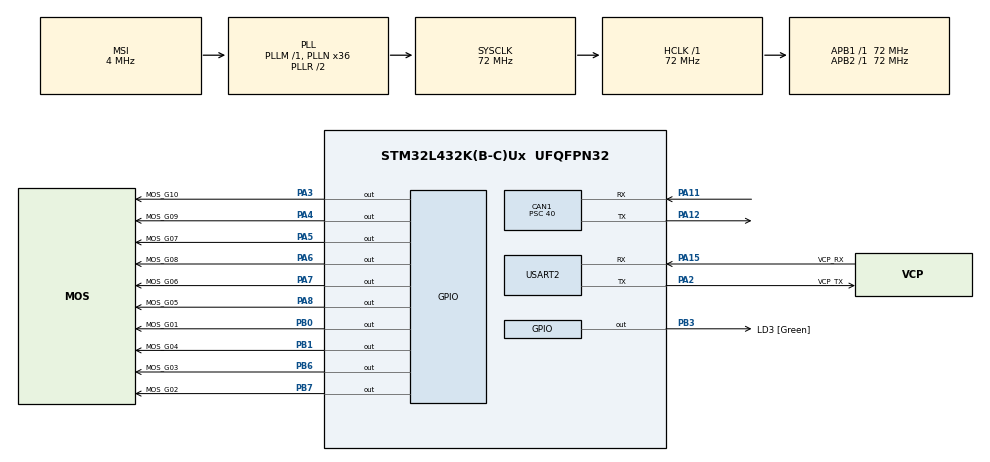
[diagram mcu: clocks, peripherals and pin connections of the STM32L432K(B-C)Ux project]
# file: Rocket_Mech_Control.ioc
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CAN1.ABOM=ENABLE
CAN1.BS1=CAN_BS1_14TQ
CAN1.CalculateBaudRate=112500
CAN1.CalculateTimeBit=8888
CAN1.CalculateTimeQuantum=555.5555555555555
CAN1.Mode=CAN_MODE_NORMAL
CAN1.Prescaler=40
Mcu.Family=STM32L4
Mcu.Name=STM32L432K(B-C)Ux
Mcu.Package=UFQFPN32
NVIC.CAN1_RX0_IRQn=true\:0\:0\:false\:false\:true\:true\:true\:true
NVIC.PriorityGroup=NVIC_PRIORITYGROUP_4
PA0.GPIO_Label=MCO [High speed clock in]
PA0.Mode=HSE-External-Clock-Source-for-LittleOrca
PA0.Signal=RCC_CK_IN
PA11.GPIO_PuPd=GPIO_PULLUP
PA11.Mode=CAN_Activate
PA11.Signal=CAN1_RX
PA12.Mode=CAN_Activate
PA12.Signal=CAN1_TX
PA13\ (JTMS-SWDIO).GPIO_Label=SWDIO
PA13\ (JTMS-SWDIO).Mode=Serial_Wire
PA13\ (JTMS-SWDIO).Signal=SYS_JTMS-SWDIO
PA14\ (JTCK-SWCLK).GPIO_Label=SWCLK
PA14\ (JTCK-SWCLK).Mode=Serial_Wire
PA14\ (JTCK-SWCLK).Signal=SYS_JTCK-SWCLK
PA15\ (JTDI).GPIO_Label=VCP_RX
PA15\ (JTDI).Mode=Asynchronous
PA15\ (JTDI).Signal=USART2_RX
PA2.GPIO_Label=VCP_TX
PA2.Mode=Asynchronous
PA2.Signal=USART2_TX
PA3.GPIO_Label=MOS_G10
PA3.Signal=GPIO_Output
PA4.GPIO_Label=MOS_G09
PA4.Signal=GPIO_Output
PA5.GPIO_Label=MOS_G07
PA5.Signal=GPIO_Output
PA6.GPIO_Label=MOS_G08
PA6.Signal=GPIO_Output
PA7.GPIO_Label=MOS_G06
PA7.Signal=GPIO_Output
PA8.GPIO_Label=MOS_G05
PA8.Signal=GPIO_Output
PB0.GPIO_Label=MOS_G01
PB0.Signal=GPIO_Output
PB1.GPIO_Label=MOS_G04
PB1.Signal=GPIO_Output
PB3\ (JTDO-TRACESWO).GPIO_Label=LD3 [Green]
PB3\ (JTDO-TRACESWO).Signal=GPIO_Output
PB6.GPIO_Label=MOS_G03
PB6.Signal=GPIO_Output
PB7.GPIO_Label=MOS_G02
PB7.Signal=GPIO_Output
PC14-OSC32_IN\ (PC14).Mode=LSE-External-Oscillator
PC14-OSC32_IN\ (PC14).Signal=RCC_OSC32_IN
PC15-OSC32_OUT\ (PC15).Mode=LSE-External-Oscillator
PC15-OSC32_OUT\ (PC15).Signal=RCC_OSC32_OUT
ProjectManager.HeapSize=0x200
ProjectManager.StackSize=0x400
ProjectManager.TargetToolchain=STM32CubeIDE
RCC.ADCFreq_Value=16000000
RCC.AHBFreq_Value=72000000
RCC.APB1Freq_Value=72000000
RCC.APB1TimFreq_Value=72000000
RCC.APB2Freq_Value=72000000
RCC.APB2TimFreq_Value=72000000
RCC.CortexFreq_Value=72000000
RCC.HCLKFreq_Value=72000000
RCC.HSE_VALUE=8000000
RCC.HSI16_VALUE=16000000
RCC.HSI48_VALUE=48000000
RCC.HSI_VALUE=16000000
RCC.MSI_VALUE=4000000
RCC.PLLMUL=RCC_PLLMUL_4
RCC.PLLN=36
RCC.SYSCLKFreq_VALUE=72000000
RCC.SYSCLKSource=RCC_SYSCLKSOURCE_PLLCLK
RCC.USBFreq_Value=16000000
RCC.VCOOutputFreq_Value=144000000
USART2.VirtualMode-Asynchronous=VM_ASYNC
board=NUCLEO-L432KC

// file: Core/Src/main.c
/* USER CODE BEGIN Header */
/**
  ******************************************************************************
  * @file           : main.c
  * @brief          : Main program body
  ******************************************************************************
  * @attention
  *
  * Copyright (c) 2023 STMicroelectronics.
  * All rights reserved.
  *
  * This software is licensed under terms that can be found in the LICENSE file
  * in the root directory of this software component.
  * If no LICENSE file comes with this software, it is provided AS-IS.
  *
  ******************************************************************************
  */
/* USER CODE END Header */
#include "main.h"

/* USER CODE BEGIN Includes */
#include "stdio.h"
#include "string.h"
/* USER CODE END Includes */

/* USER CODE BEGIN PTD */
typedef struct pins {
	uint8_t pinMode;
	uint8_t pinId;
	GPIO_TypeDef *pinReg;
	uint16_t pinNo;
} pin;
/* USER CODE END PTD */

CAN_HandleTypeDef hcan1;

UART_HandleTypeDef huart2;

void SystemClock_Config(void);
static void MX_GPIO_Init(void);
static void MX_USART2_UART_Init(void);
static void MX_CAN1_Init(void);
/* USER CODE BEGIN PFP */
void HAL_CAN_RxFifo0MsgPendingCallback(CAN_HandleTypeDef *hcan1);
void togglePin(pin *PinOut,  CAN_TxHeaderTypeDef *TxHeader, uint8_t TxData[8], uint32_t *TxMailbox);
/* USER CODE END PFP */

/* USER CODE BEGIN 0 */
uint8_t DataInFlag = RESET;
uint8_t BadCharFlag = RESET;
volatile uint8_t stateTxTime = RESET;

//CAN MSG Buffers
CAN_TxHeaderTypeDef TxHeader;
CAN_RxHeaderTypeDef RxHeader;

uint32_t TxMailbox;

uint8_t TxData[8]  = {0};
uint8_t RxData[8];

uint8_t ProcBuffer[8];
uint8_t pinStates[8] = { 0 };

uint16_t timCount = 0;

/* USER CODE END 0 */

int main(void)
{

  /* MCU Configuration--------------------------------------------------------*/

  /* Reset of all peripherals, Initializes the Flash interface and the Systick. */
  HAL_Init();

  /* Configure the system clock */
  SystemClock_Config();

  /* Initialize all configured peripherals */
  MX_GPIO_Init();
  MX_USART2_UART_Init();
  MX_CAN1_Init();
  /* USER CODE BEGIN 2 */
  // Control Flags

  //Start the CAN peripheral
  HAL_CAN_Start(&hcan1);
  //Enable notification interrupt on pending Rx messages
  HAL_CAN_ActivateNotification(&hcan1, CAN_IT_RX_FIFO0_MSG_PENDING);

  //Set Tx Header Arbitration and Control fields
  TxHeader.DLC = 8; //only sending one number representing id of valve toggled
  TxHeader.ExtId = 0;
  TxHeader.IDE = CAN_ID_STD;
  TxHeader.RTR = CAN_RTR_DATA;
  TxHeader.StdId = 0x132;
  TxHeader.TransmitGlobalTime = DISABLE;

  //Set up pin typedefs
  pin pin1  = {RESET,  1, MOS_G01_GPIO_Port, MOS_G01_Pin};
  pin pin2  = {RESET,  2, MOS_G02_GPIO_Port, MOS_G02_Pin};
  pin pin3  = {RESET,  3, MOS_G03_GPIO_Port, MOS_G03_Pin};
  pin pin4  = {RESET,  4, MOS_G04_GPIO_Port, MOS_G04_Pin};
  pin pin5  = {RESET,  5, MOS_G05_GPIO_Port, MOS_G05_Pin};
  pin pin6  = {RESET,  6, MOS_G06_GPIO_Port, MOS_G06_Pin};
  pin pin7  = {RESET,  7, MOS_G07_GPIO_Port, MOS_G07_Pin};
  pin pin8  = {RESET,  8, MOS_G08_GPIO_Port, MOS_G08_Pin};
  pin pin9  = {RESET,  9, MOS_G09_GPIO_Port, MOS_G09_Pin};
  pin pin10 = {RESET, 10, MOS_G10_GPIO_Port, MOS_G10_Pin};

  pin *pinActive = &pin1;

  /* USER CODE END 2 */

  /* Infinite loop */
  /* USER CODE BEGIN WHILE */
  while (1)
  {
	  //send the message (Should be received in the RxFifo0)
	  if(DataInFlag){
		  for( uint8_t i = 0; i< 8; i++){
			  switch (ProcBuffer[i]){
			  case '1':
				  pinActive = &pin1;
				  pinStates[0] ^= (1U << 0U);
				  break;
			  case '2':
				  pinActive = &pin2;
				  pinStates[0] ^= (1U << 1U);
				  break;
			  case '3':
				  pinActive = &pin3;
				  pinStates[1] ^= 1;
				  break;
			  case '4':
				  pinActive = &pin4;
				  pinStates[2] ^= 1;
				  break;
			  case '5':
				  pinActive = &pin5;
				  pinStates[3] ^= 1;
				  break;
			  case '6':
				  pinActive = &pin6;
				  pinStates[4] ^= 1;
				  break;
			  case '7':
				  pinActive = &pin7;
				  pinStates[5] ^= 1;
				  break;
			  case '8':
				  pinActive = &pin8;
				  pinStates[6] ^= 1;
				  HAL_GPIO_WritePin(pin8.pinReg, pin8.pinNo, pinStates[6]);
				  BadCharFlag = SET;
				  break;
			  case '9':
				  pinActive = &pin9;
				  pinStates[7] ^= 1;
				  HAL_GPIO_WritePin(pin9.pinReg, pin9.pinNo, pinStates[7]);
				  BadCharFlag = SET;
				  break;
			  // new commands - nf 11/16
			  case 'a':
				  // close mainvalves
				  pinStates[6] = 0;
				  pinStates[7] = 0;
				  HAL_GPIO_WritePin(pin8.pinReg, pin8.pinNo, 0);
				  HAL_GPIO_WritePin(pin9.pinReg, pin9.pinNo, 0);
				  BadCharFlag = SET;
				  break;
			  case 'm':
				  // open main valves at same time (discussed with rohin)
				  pinStates[6] = 1;
				  pinStates[7] = 1;
				  HAL_GPIO_WritePin(pin8.pinReg, pin8.pinNo, 1);
				  HAL_GPIO_WritePin(pin9.pinReg, pin9.pinNo, 1);
				  BadCharFlag = SET;
				  break;
			  case 'i':
				  // light igniter
				  pinActive = &pin10; //igniterPin
				  break;
			  default:
				  BadCharFlag = SET;
				  break;
			  }
			  if(!BadCharFlag){
				  togglePin(pinActive,&TxHeader, TxData, &TxMailbox);
			  }
			  BadCharFlag = RESET;
			  HAL_Delay(10);

		  }
		  HAL_Delay(2);

		  DataInFlag = RESET;

	  }

      if (stateTxTime == SET) {
		static int count = 0;
		if (++count >= 100) {

			HAL_CAN_AddTxMessage(&hcan1, &TxHeader, pinStates, &TxMailbox);
			count = 0;

		}
		stateTxTime = RESET;
      }

//      if (timCount > 60000) {
//    	  NVIC_SystemReset();
//      }

    /* USER CODE END WHILE */

  }
}

void SystemClock_Config(void)
{
  RCC_OscInitTypeDef RCC_OscInitStruct = {0};
  RCC_ClkInitTypeDef RCC_ClkInitStruct = {0};

  /** Configure the main internal regulator output voltage
  */
  if (HAL_PWREx_ControlVoltageScaling(PWR_REGULATOR_VOLTAGE_SCALE1) != HAL_OK)
  {
    Error_Handler();
  }

  /** Configure LSE Drive Capability
  */
  HAL_PWR_EnableBkUpAccess();
  __HAL_RCC_LSEDRIVE_CONFIG(RCC_LSEDRIVE_LOW);

  /** Initializes the RCC Oscillators according to the specified parameters
  * in the RCC_OscInitTypeDef structure.
  */
  RCC_OscInitStruct.OscillatorType = RCC_OSCILLATORTYPE_LSE|RCC_OSCILLATORTYPE_MSI;
  RCC_OscInitStruct.LSEState = RCC_LSE_ON;
  RCC_OscInitStruct.MSIState = RCC_MSI_ON;
  RCC_OscInitStruct.MSICalibrationValue = 0;
  RCC_OscInitStruct.MSIClockRange = RCC_MSIRANGE_6;
  RCC_OscInitStruct.PLL.PLLState = RCC_PLL_ON;
  RCC_OscInitStruct.PLL.PLLSource = RCC_PLLSOURCE_MSI;
  RCC_OscInitStruct.PLL.PLLM = 1;
  RCC_OscInitStruct.PLL.PLLN = 36;
  RCC_OscInitStruct.PLL.PLLP = RCC_PLLP_DIV7;
  RCC_OscInitStruct.PLL.PLLQ = RCC_PLLQ_DIV2;
  RCC_OscInitStruct.PLL.PLLR = RCC_PLLR_DIV2;
  if (HAL_RCC_OscConfig(&RCC_OscInitStruct) != HAL_OK)
  {
    Error_Handler();
  }

  /** Initializes the CPU, AHB and APB buses clocks
  */
  RCC_ClkInitStruct.ClockType = RCC_CLOCKTYPE_HCLK|RCC_CLOCKTYPE_SYSCLK
                              |RCC_CLOCKTYPE_PCLK1|RCC_CLOCKTYPE_PCLK2;
  RCC_ClkInitStruct.SYSCLKSource = RCC_SYSCLKSOURCE_PLLCLK;
  RCC_ClkInitStruct.AHBCLKDivider = RCC_SYSCLK_DIV1;
  RCC_ClkInitStruct.APB1CLKDivider = RCC_HCLK_DIV1;
  RCC_ClkInitStruct.APB2CLKDivider = RCC_HCLK_DIV1;

  if (HAL_RCC_ClockConfig(&RCC_ClkInitStruct, FLASH_LATENCY_4) != HAL_OK)
  {
    Error_Handler();
  }

  /** Enable MSI Auto calibration
  */
  HAL_RCCEx_EnableMSIPLLMode();
}

static void MX_CAN1_Init(void)
{

  hcan1.Instance = CAN1;
  hcan1.Init.Prescaler = 40;
  hcan1.Init.Mode = CAN_MODE_NORMAL;
  hcan1.Init.SyncJumpWidth = CAN_SJW_1TQ;
  hcan1.Init.TimeSeg1 = CAN_BS1_14TQ;
  hcan1.Init.TimeSeg2 = CAN_BS2_1TQ;
  hcan1.Init.TimeTriggeredMode = DISABLE;
  hcan1.Init.AutoBusOff = ENABLE;
  hcan1.Init.AutoWakeUp = DISABLE;
  hcan1.Init.AutoRetransmission = DISABLE;
  hcan1.Init.ReceiveFifoLocked = DISABLE;
  hcan1.Init.TransmitFifoPriority = DISABLE;
  if (HAL_CAN_Init(&hcan1) != HAL_OK)
  {
    Error_Handler();
  }
  /* USER CODE BEGIN CAN1_Init 2 */
  CAN_FilterTypeDef canfilterconfig;

  //Set the CAN filter typedef elements
  canfilterconfig.FilterActivation = CAN_FILTER_ENABLE;	//Enable or Disable Filters
  canfilterconfig.FilterBank = 10;						//Specify which Filter bank to use
  canfilterconfig.FilterFIFOAssignment = CAN_RX_FIFO0;
  canfilterconfig.FilterIdHigh = 0x103<<5;
  canfilterconfig.FilterIdLow = 0x0000;
  canfilterconfig.FilterMaskIdHigh = 0x103<<5;
  canfilterconfig.FilterMaskIdLow = 0x0000;
  canfilterconfig.FilterMode = CAN_FILTERMODE_IDMASK;
  canfilterconfig.FilterScale = CAN_FILTERSCALE_32BIT;
  canfilterconfig.SlaveStartFilterBank = 0;				//Decides which bank belongs to slave CAN (useless as there is no CAN)

  //Call CAN Filter Configuration function
  HAL_CAN_ConfigFilter(&hcan1, &canfilterconfig);

  /* USER CODE END CAN1_Init 2 */

}

static void MX_USART2_UART_Init(void)
{

  huart2.Instance = USART2;
  huart2.Init.BaudRate = 115200;
  huart2.Init.WordLength = UART_WORDLENGTH_8B;
  huart2.Init.StopBits = UART_STOPBITS_1;
  huart2.Init.Parity = UART_PARITY_NONE;
  huart2.Init.Mode = UART_MODE_TX_RX;
  huart2.Init.HwFlowCtl = UART_HWCONTROL_NONE;
  huart2.Init.OverSampling = UART_OVERSAMPLING_16;
  huart2.Init.OneBitSampling = UART_ONE_BIT_SAMPLE_DISABLE;
  huart2.AdvancedInit.AdvFeatureInit = UART_ADVFEATURE_NO_INIT;
  if (HAL_UART_Init(&huart2) != HAL_OK)
  {
    Error_Handler();
  }

}

static void MX_GPIO_Init(void)
{
  GPIO_InitTypeDef GPIO_InitStruct = {0};

  /* GPIO Ports Clock Enable */
  __HAL_RCC_GPIOC_CLK_ENABLE();
  __HAL_RCC_GPIOA_CLK_ENABLE();
  __HAL_RCC_GPIOB_CLK_ENABLE();

  /*Configure GPIO pin Output Level */
  HAL_GPIO_WritePin(GPIOA, MOS_G10_Pin|MOS_G09_Pin|MOS_G07_Pin|MOS_G08_Pin
                          |MOS_G06_Pin|MOS_G05_Pin, GPIO_PIN_RESET);

  /*Configure GPIO pin Output Level */
  HAL_GPIO_WritePin(GPIOB, MOS_G01_Pin|MOS_G04_Pin|LD3_Pin|MOS_G03_Pin
                          |MOS_G02_Pin, GPIO_PIN_RESET);

  /*Configure GPIO pins : MOS_G10_Pin MOS_G09_Pin MOS_G07_Pin MOS_G08_Pin
                           MOS_G06_Pin MOS_G05_Pin */
  GPIO_InitStruct.Pin = MOS_G10_Pin|MOS_G09_Pin|MOS_G07_Pin|MOS_G08_Pin
                          |MOS_G06_Pin|MOS_G05_Pin;
  GPIO_InitStruct.Mode = GPIO_MODE_OUTPUT_PP;
  GPIO_InitStruct.Pull = GPIO_NOPULL;
  GPIO_InitStruct.Speed = GPIO_SPEED_FREQ_LOW;
  HAL_GPIO_Init(GPIOA, &GPIO_InitStruct);

  /*Configure GPIO pins : MOS_G01_Pin MOS_G04_Pin LD3_Pin MOS_G03_Pin
                           MOS_G02_Pin */
  GPIO_InitStruct.Pin = MOS_G01_Pin|MOS_G04_Pin|LD3_Pin|MOS_G03_Pin
                          |MOS_G02_Pin;
  GPIO_InitStruct.Mode = GPIO_MODE_OUTPUT_PP;
  GPIO_InitStruct.Pull = GPIO_NOPULL;
  GPIO_InitStruct.Speed = GPIO_SPEED_FREQ_LOW;
  HAL_GPIO_Init(GPIOB, &GPIO_InitStruct);

}

/* USER CODE BEGIN 4 */
void HAL_SYSTICK_Callback(void) {

		stateTxTime = SET;
//		timCount++;

}

void HAL_CAN_RxFifo0MsgPendingCallback(CAN_HandleTypeDef *hcan1) {

	HAL_CAN_GetRxMessage(hcan1, CAN_RX_FIFO0, &RxHeader, RxData);
	memcpy(ProcBuffer, RxData, 8);
	DataInFlag = SET;
	HAL_GPIO_TogglePin(GPIOB, GPIO_PIN_3);
}

void togglePin(pin *PinOut,  CAN_TxHeaderTypeDef *TxHeader, uint8_t TxData[8], uint32_t *TxMailbox){
	//HAL_GPIO_TogglePin(PinOut.pinReg,  PinOut.pinNo);
	PinOut->pinMode = !PinOut->pinMode;
	if(PinOut->pinMode){
		HAL_GPIO_WritePin(PinOut->pinReg, PinOut->pinNo, SET);
	}
	else {
		HAL_GPIO_WritePin(PinOut->pinReg, PinOut->pinNo, RESET);
	}
//	TxData[0] = PinOut->pinId;
//	TxData[1] = PinOut->pinMode;
//	HAL_CAN_AddTxMessage(&hcan1, TxHeader, TxData, TxMailbox);
	HAL_GPIO_TogglePin(GPIOB, GPIO_PIN_3);

}
/* USER CODE END 4 */

void Error_Handler(void)
{
  __disable_irq();
  while (1)
  {
  }
}
